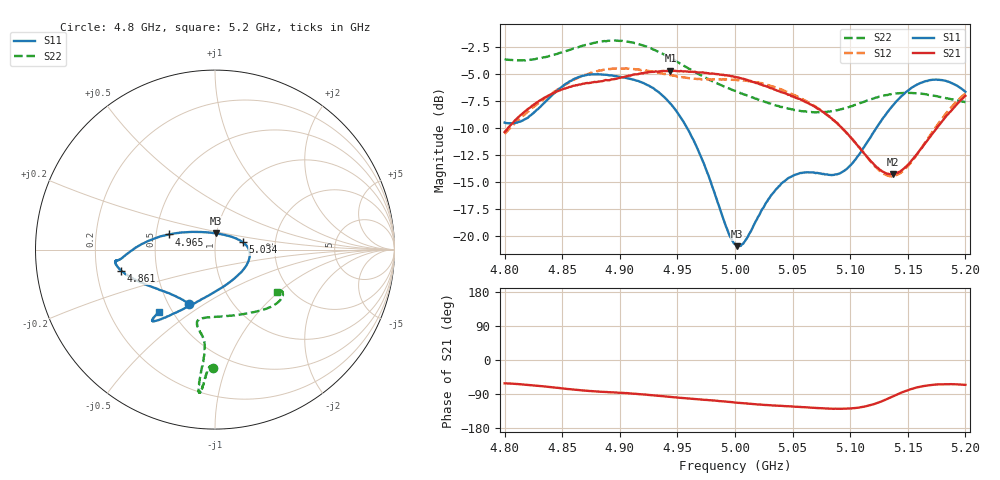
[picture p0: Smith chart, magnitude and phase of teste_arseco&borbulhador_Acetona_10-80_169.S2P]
! Network Analyzer HP8722D
! Hewlett-Packard
! Data name: Linha & Wilkinson
! Saver's name: Rodrigo Anjos
! Comments: Teste da utilização de aquisição
! continua pelo VNA HP8722D
! Time and date: 17/4/2025 15:46
!  Frequency  S11  S21  S12  S22
# HZ  S  MA R 50
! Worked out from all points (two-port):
!   401 points, 4.8 GHz to 5.2 GHz, reference 50 ohm
!   highest |S21| = -4.71 dB at 4.944 GHz (marker M1); lowest = -14.3 dB at 5.137 GHz (marker M2)
!   |S21| within 3 dB of the highest: 4.827 GHz to 5.064 GHz (236.7 MHz wide, 4.79 % of centre); 5.193466 GHz to end of sweep
!   lowest |S11| = -20.9 dB at 5.002 GHz (marker M3), VSWR 1.20, Z = 50 + j9.04 ohm
!   |S11| at or under -10 dB: 4.958 GHz to 5.123 GHz (164.1 MHz wide, 3.26 % of centre)
!   |S22| runs from -8.6 to -1.9 dB; largest |S21 - S12| = 0.87
!   S11 on the Smith chart (normalised r, x): 4.8 GHz: 0.64, -0.43; 4.861 GHz: 0.31, -0.10; 4.965 GHz: 0.58, +0.11; 5.034 GHz: 1.36, +0.11; 5.2 GHz: 0.43, -0.38
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4.8e9  0.335 -115.2  0.3032 -61.5  0.2975 -175.8  0.657 -90.7
4.819e9  0.3505 -135.3  0.3822 -65.4  0.3706 -175.0  0.6524 -92.3
4.861e9  0.5349 -167.2  0.4962 -78.3  0.5317 -178.2  0.7391 -94.8
4.867e9  0.549 -169.6  0.5047 -80.1  0.5484 -179.4  0.7566 -94.9
4.9e9  0.5445 -173.8  0.5389 -86.4  0.5959 174.4  0.799 -96.3
4.934e9  0.4619 -179.6  0.5775 -94.7  0.5689 170.8  0.7094 -96.7
4.944e9  0.41 175.7  0.5814 -97.4  0.5547 170.9  0.6661 -96.4
4.965e9  0.2711 161.9  0.5752 -103.1  0.5342 172.8  0.5754 -95.8
4.993e9  0.1085 117.2  0.5537 -110.1  0.5303 175.1  0.4858 -98.3
5e9  0.09222 93.0  0.5445 -112.3  0.5298 175.2  0.4694 -99.7
5.002e9  0.09008 85.1  0.5419 -112.7  0.5262 175.1  0.4662 -100.3
5.009e9  0.09564 60.4  0.5297 -114.4  0.5247 174.9  0.45 -101.8
5.034e9  0.1606 14.7  0.476 -120.2  0.4897 174.0  0.4045 -103.6
5.048e9  0.1876 0.9  0.4482 -122.4  0.4578 173.2  0.3878 -99.7
5.067e9  0.1975 -19.2  0.4031 -125.8  0.4067 172.9  0.3744 -89.4
5.096e9  0.203 -69.9  0.3037 -128.6  0.304 174.4  0.3914 -66.9
5.121e9  0.3059 -108.8  0.2135 -116.1  0.2118 -171.0  0.4344 -49.7
5.134e9  0.3844 -119.1  0.1934 -100.2  0.1897 -153.2  0.452 -43.1
5.137e9  0.4014 -120.8  0.1932 -96.2  0.19 -148.4  0.455 -41.8
5.15e9  0.4705 -126.4  0.2138 -79.9  0.2105 -129.5  0.4598 -37.1
5.17e9  0.5269 -130.8  0.2909 -65.9  0.2963 -112.2  0.4487 -32.6
5.2e9  0.465 -132.0  0.4453 -65.6  0.457 -107.9  0.4162 -34.2
